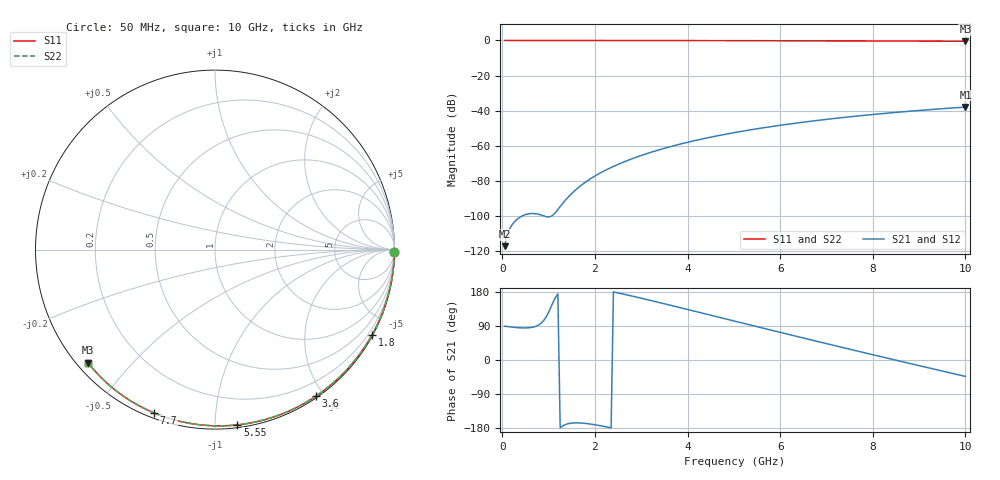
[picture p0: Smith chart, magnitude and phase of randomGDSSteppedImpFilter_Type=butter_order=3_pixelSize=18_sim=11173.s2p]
! freq	dB(S11)	phase(S11)	dB(S12)	phase(S12)
!  dB(S21)	phase(S21)	dB(S22)	phase(S22)
!S-par simulation data
#  GHz  S  DB  R 50
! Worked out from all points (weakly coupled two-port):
!   200 points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, 50 MHz to 10 GHz, reference 50 ohm
!   highest |S21| = -37.93 dB at 10 GHz (marker M1); lowest = -117.1 dB at 50 MHz (marker M2)
!   lowest |S11| = -0.5 dB at 10 GHz (marker M3), VSWR 37.07, Z = 1.54 - j19 ohm
!   |S11| at or under -10 dB: nowhere
!   |S22| runs from -0.5 to 0.0 dB; largest |S21 - S12| = 0
!   S11 on the Smith chart (normalised r, x): 50 MHz: open; 1.8 GHz: 0.03, -3.95; 3.6 GHz: 0.02, -1.90; 5.55 GHz: 0.02, -1.14; 7.7 GHz: 0.02, -0.70; 10 GHz: 0.03, -0.38
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0.05  -0.00 -0.8  -117.08 89.2  -117.08 89.2  -0.00 -0.8
0.45  -0.01 -7.2  -99.62 84.6  -99.62 84.6  -0.01 -7.2
0.9  -0.02 -14.3  -99.91 105.1  -99.91 105.1  -0.02 -14.3
1.75  -0.04 -27.6  -81.51 -166.8  -81.51 -166.8  -0.04 -27.6
1.8  -0.04 -28.4  -80.56 -167.4  -80.56 -167.4  -0.04 -28.4
1.85  -0.04 -29.2  -79.66 -168.1  -79.66 -168.1  -0.04 -29.2
2.05  -0.04 -32.2  -76.40 -171.9  -76.40 -171.9  -0.04 -32.2
2.25  -0.05 -35.3  -73.58 -176.5  -73.58 -176.5  -0.05 -35.3
2.55  -0.05 -39.8  -69.95 175.7  -69.95 175.7  -0.05 -39.8
2.95  -0.06 -45.9  -65.91 164.5  -65.91 164.5  -0.06 -45.9
3.4  -0.07 -52.5  -62.13 151.4  -62.13 151.4  -0.07 -52.5
3.6  -0.07 -55.4  -60.64 145.4  -60.64 145.4  -0.07 -55.4
3.9  -0.08 -59.8  -58.60 136.4  -58.60 136.4  -0.08 -59.8
4.3  -0.09 -65.5  -56.16 124.3  -56.16 124.3  -0.09 -65.5
5.05  -0.12 -75.9  -52.26 101.6  -52.26 101.6  -0.12 -75.9
5.55  -0.14 -82.7  -50.06 86.5  -50.06 86.5  -0.14 -82.7
6.1  -0.16 -90.0  -47.91 69.9  -47.91 69.9  -0.16 -90.0
6.7  -0.19 -97.8  -45.84 52.1  -45.84 52.1  -0.19 -97.8
7.7  -0.25 -110.4  -42.91 22.6  -42.91 22.6  -0.25 -110.4
8.35  -0.30 -118.4  -41.28 3.8  -41.28 3.8  -0.30 -118.4
9.2  -0.38 -128.7  -39.42 -20.6  -39.42 -20.6  -0.38 -128.7
10  -0.47 -138.3  -37.93 -43.3  -37.93 -43.3  -0.47 -138.3
